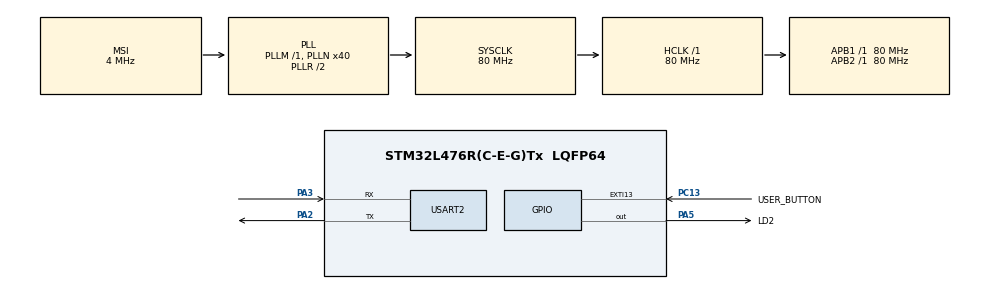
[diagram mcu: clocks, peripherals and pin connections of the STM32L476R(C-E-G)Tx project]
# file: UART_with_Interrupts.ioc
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Mcu.Family=STM32L4
Mcu.Name=STM32L476R(C-E-G)Tx
Mcu.Package=LQFP64
NVIC.EXTI15_10_IRQn=true\:8\:0\:true\:false\:true\:true\:true\:true
NVIC.PriorityGroup=NVIC_PRIORITYGROUP_4
NVIC.USART2_IRQn=true\:12\:0\:true\:false\:true\:true\:true\:true
PA13\ (JTMS-SWDIO).Mode=Serial_Wire
PA13\ (JTMS-SWDIO).Signal=SYS_JTMS-SWDIO
PA14\ (JTCK-SWCLK).Mode=Serial_Wire
PA14\ (JTCK-SWCLK).Signal=SYS_JTCK-SWCLK
PA2.Mode=Asynchronous
PA2.Signal=USART2_TX
PA3.Mode=Asynchronous
PA3.Signal=USART2_RX
PA5.GPIO_Label=LD2
PA5.Signal=GPIO_Output
PC13.GPIO_Label=USER_BUTTON
PC13.Signal=GPXTI13
ProjectManager.HeapSize=0x200
ProjectManager.StackSize=0x400
ProjectManager.TargetToolchain=STM32CubeIDE
RCC.AHBFreq_Value=80000000
RCC.APB1Freq_Value=80000000
RCC.APB1TimFreq_Value=80000000
RCC.APB2Freq_Value=80000000
RCC.APB2TimFreq_Value=80000000
RCC.CortexFreq_Value=80000000
RCC.HCLKFreq_Value=80000000
RCC.HSE_VALUE=8000000
RCC.HSI_VALUE=16000000
RCC.LSE_VALUE=32768
RCC.MSI_VALUE=4000000
RCC.PLLN=40
RCC.SYSCLKFreq_VALUE=80000000
RCC.SYSCLKSource=RCC_SYSCLKSOURCE_PLLCLK
RCC.VCOOutputFreq_Value=160000000
USART2.VirtualMode-Asynchronous=VM_ASYNC
board=custom

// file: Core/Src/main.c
/* USER CODE BEGIN Header */
/**
  ******************************************************************************
  * @file           : main.c
  * @brief          : Main program body
  ******************************************************************************
  * @attention
  *
  * Copyright (c) 2025 STMicroelectronics.
  * All rights reserved.
  *
  * This software is licensed under terms that can be found in the LICENSE file
  * in the root directory of this software component.
  * If no LICENSE file comes with this software, it is provided AS-IS.
  *
  ******************************************************************************
  */
/* USER CODE END Header */
#include "main.h"

/* USER CODE BEGIN Includes */
#include <string.h>
/* USER CODE END Includes */

UART_HandleTypeDef huart2;

void SystemClock_Config(void);
static void MX_GPIO_Init(void);
static void MX_USART2_UART_Init(void);

/* USER CODE BEGIN 0 */

typedef enum {
	FIRST,
	SECOND,
	THIRD,
	DONE,
	UNDEFINED
} message_state;

message_state send_iteration = FIRST;

void send_queued_messages(void)
{
	static char firstMessage[] = "First Message\r\n";
	static char secondMessage[] = "Second Message\r\n";
	static char thirdMessage[] = "Third Message\r\n";

	switch(send_iteration)
	{
	case FIRST:
		HAL_UART_Transmit_IT(&huart2, (uint8_t*)firstMessage, strlen(firstMessage));
		send_iteration = SECOND;
		break;
	case SECOND:
		HAL_UART_Transmit_IT(&huart2, (uint8_t*)secondMessage, strlen(secondMessage));
		send_iteration = THIRD;
		break;
	case THIRD:
		HAL_UART_Transmit_IT(&huart2, (uint8_t*)thirdMessage, strlen(thirdMessage));
		send_iteration = DONE;
		break;
	default:
		break;
	}
}

void HAL_UART_TxCpltCallback(UART_HandleTypeDef * huart)
{
	if(huart == &huart2){
		send_queued_messages();
	}
}

uint8_t uart_read_buffer;

#define MAX_BUFFER_LENGHT 100

static char buffer[MAX_BUFFER_LENGHT + 1];
static uint32_t buffer_len;

void buffer_append(uint8_t value)
{
	if(value == '\r' || value == '\n')
	{
		if(buffer_len > 0){
			buffer[buffer_len] = '\0';

			if(strcmp(buffer, "on") == 0)
			{
				HAL_GPIO_WritePin(LD2_GPIO_Port, LD2_Pin, GPIO_PIN_SET);
			} else if (strcmp(buffer, "off") == 0)
			{
				HAL_GPIO_WritePin(LD2_GPIO_Port, LD2_Pin, GPIO_PIN_RESET);
			}

			buffer_len = 0;
		}
	}
	else{
		if(buffer_len >= MAX_BUFFER_LENGHT){
			buffer_len = 0;
		}

		buffer[buffer_len++] = value;
	}
}

void HAL_UART_RxCpltCallback(UART_HandleTypeDef *huart)
{
	if(huart == &huart2)
	{
		buffer_append(uart_read_buffer);
		HAL_UART_Receive_IT(&huart2, &uart_read_buffer, 1);
	}
}

/* USER CODE END 0 */

int main(void)
{

  /* MCU Configuration--------------------------------------------------------*/

  /* Reset of all peripherals, Initializes the Flash interface and the Systick. */
  HAL_Init();

  /* Configure the system clock */
  SystemClock_Config();

  /* Initialize all configured peripherals */
  MX_GPIO_Init();
  MX_USART2_UART_Init();
  /* USER CODE BEGIN 2 */

  //Tutaj będzie widać tylko pierwszy napis lub literę
//  char firstMessage[] = "Hello\r\n";
//
//  if (HAL_UART_Transmit_IT(&huart2, (uint8_t*)firstMessage, strlen(firstMessage)) != HAL_OK){
//	  Error_Handler();
//  }
//
//  char secondMessage[] = "World!\r\n";
//  if(HAL_UART_Transmit_IT(&huart2, (uint8_t*)secondMessage, strlen(secondMessage)) != HAL_OK)
//  {
//	  Error_Handler();
//  }

  //Wersja działająca
  send_queued_messages();
  /* USER CODE END 2 */

  /* Infinite loop */
  while (1)
  {

  }
}

void SystemClock_Config(void)
{
  RCC_OscInitTypeDef RCC_OscInitStruct = {0};
  RCC_ClkInitTypeDef RCC_ClkInitStruct = {0};

  /** Configure the main internal regulator output voltage
  */
  if (HAL_PWREx_ControlVoltageScaling(PWR_REGULATOR_VOLTAGE_SCALE1) != HAL_OK)
  {
    Error_Handler();
  }

  /** Initializes the RCC Oscillators according to the specified parameters
  * in the RCC_OscInitTypeDef structure.
  */
  RCC_OscInitStruct.OscillatorType = RCC_OSCILLATORTYPE_MSI;
  RCC_OscInitStruct.MSIState = RCC_MSI_ON;
  RCC_OscInitStruct.MSICalibrationValue = 0;
  RCC_OscInitStruct.MSIClockRange = RCC_MSIRANGE_6;
  RCC_OscInitStruct.PLL.PLLState = RCC_PLL_ON;
  RCC_OscInitStruct.PLL.PLLSource = RCC_PLLSOURCE_MSI;
  RCC_OscInitStruct.PLL.PLLM = 1;
  RCC_OscInitStruct.PLL.PLLN = 40;
  RCC_OscInitStruct.PLL.PLLP = RCC_PLLP_DIV7;
  RCC_OscInitStruct.PLL.PLLQ = RCC_PLLQ_DIV2;
  RCC_OscInitStruct.PLL.PLLR = RCC_PLLR_DIV2;
  if (HAL_RCC_OscConfig(&RCC_OscInitStruct) != HAL_OK)
  {
    Error_Handler();
  }

  /** Initializes the CPU, AHB and APB buses clocks
  */
  RCC_ClkInitStruct.ClockType = RCC_CLOCKTYPE_HCLK|RCC_CLOCKTYPE_SYSCLK
                              |RCC_CLOCKTYPE_PCLK1|RCC_CLOCKTYPE_PCLK2;
  RCC_ClkInitStruct.SYSCLKSource = RCC_SYSCLKSOURCE_PLLCLK;
  RCC_ClkInitStruct.AHBCLKDivider = RCC_SYSCLK_DIV1;
  RCC_ClkInitStruct.APB1CLKDivider = RCC_HCLK_DIV1;
  RCC_ClkInitStruct.APB2CLKDivider = RCC_HCLK_DIV1;

  if (HAL_RCC_ClockConfig(&RCC_ClkInitStruct, FLASH_LATENCY_4) != HAL_OK)
  {
    Error_Handler();
  }
}

static void MX_USART2_UART_Init(void)
{

  huart2.Instance = USART2;
  huart2.Init.BaudRate = 115200;
  huart2.Init.WordLength = UART_WORDLENGTH_8B;
  huart2.Init.StopBits = UART_STOPBITS_1;
  huart2.Init.Parity = UART_PARITY_NONE;
  huart2.Init.Mode = UART_MODE_TX_RX;
  huart2.Init.HwFlowCtl = UART_HWCONTROL_NONE;
  huart2.Init.OverSampling = UART_OVERSAMPLING_16;
  huart2.Init.OneBitSampling = UART_ONE_BIT_SAMPLE_DISABLE;
  huart2.AdvancedInit.AdvFeatureInit = UART_ADVFEATURE_NO_INIT;
  if (HAL_UART_Init(&huart2) != HAL_OK)
  {
    Error_Handler();
  }

}

static void MX_GPIO_Init(void)
{
  GPIO_InitTypeDef GPIO_InitStruct = {0};

  /* GPIO Ports Clock Enable */
  __HAL_RCC_GPIOC_CLK_ENABLE();
  __HAL_RCC_GPIOA_CLK_ENABLE();

  /*Configure GPIO pin Output Level */
  HAL_GPIO_WritePin(LD2_GPIO_Port, LD2_Pin, GPIO_PIN_RESET);

  /*Configure GPIO pin : USER_BUTTON_Pin */
  GPIO_InitStruct.Pin = USER_BUTTON_Pin;
  GPIO_InitStruct.Mode = GPIO_MODE_IT_RISING;
  GPIO_InitStruct.Pull = GPIO_NOPULL;
  HAL_GPIO_Init(USER_BUTTON_GPIO_Port, &GPIO_InitStruct);

  /*Configure GPIO pin : LD2_Pin */
  GPIO_InitStruct.Pin = LD2_Pin;
  GPIO_InitStruct.Mode = GPIO_MODE_OUTPUT_PP;
  GPIO_InitStruct.Pull = GPIO_NOPULL;
  GPIO_InitStruct.Speed = GPIO_SPEED_FREQ_LOW;
  HAL_GPIO_Init(LD2_GPIO_Port, &GPIO_InitStruct);

  /* EXTI interrupt init*/
  HAL_NVIC_SetPriority(EXTI15_10_IRQn, 8, 0);
  HAL_NVIC_EnableIRQ(EXTI15_10_IRQn);

}

void Error_Handler(void)
{
  __disable_irq();
  while (1)
  {
  }
}
